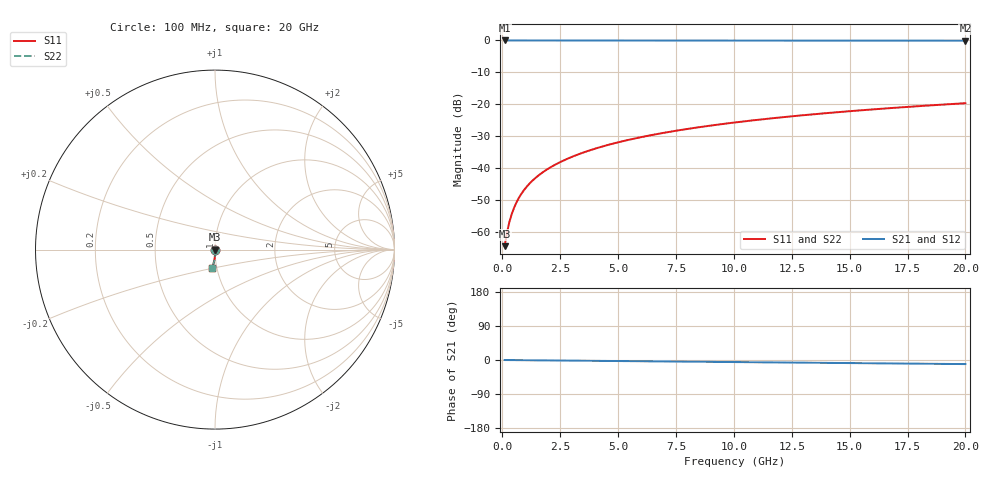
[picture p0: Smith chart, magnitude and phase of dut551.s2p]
! Touchstone file exported from HFSS 2026.1.0
!  File:  C:/ffzhzh/LocalFiles/Ansys_Project_Files/temp_train_TSV_551_1783024286_53980.aedt
!  Generated:  04:33:07 AM Jul  3, 2026
!  Design:  TSV
!  Project:  temp_train_TSV_551_1783024286_53980
! Variables:
!  h_bsmrdl = 2um
!  h_ox = 20um
!  h_rdl = 5um
!  h_sub = 99.11um
!  h_tmrdl = 5um
!  h_tsv = 99.11um
!  h_via = 3um
!  l_bsmrdl = 300um
!  l_sub = 410.88um
!  l_tmrdl = 200um
!  m_sub = 200um
!  pitch = 13.69um
!  r_tsv = 5.44um
!  s_tmrdl = 10um
!  w_bsmrdl = 18um
!  w_sub = 500um
!  w_tmrdl = 12um
!  x_tsv_center1 = 206um
!  x_tsv_center2 = 524um
!  x_tsv_center3 = 736um
!  x_tsv_center4 = 1054um
!  x_tsv_center5 = 1266um
!  x_tsv_center6 = 1584um
# GHz S MA R 50.000000
! Terminal data exported
! Port[1] = TSV1_1_T1
! Port[2] = TSV1_1_T2
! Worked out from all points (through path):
!   200 points, 100 MHz to 20 GHz, reference 50 ohm
!   highest |S21| = 0.00 dB at 100 MHz (marker M1); lowest = -0.1 dB at 20 GHz (marker M2)
!   group delay of S21, straight-line fit = 1.5 ps
!   lowest |S11| = -64.3 dB at 100 MHz (marker M3), VSWR 1.00, Z = 50 - j0.0419 ohm
!   |S11| at or under -10 dB: start of sweep to end of sweep
!   |S22| runs from -64.3 to -19.6 dB; largest |S21 - S12| = 3e-15
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0.1  0.0006062 -43.6  0.9996 -0.1  0.9996 -0.1  0.0006062 -43.6
! Gamma 0 0 0 0
! Port Impedance 50 0 50 0
0.2  0.0009802 -60.6  0.9995 -0.1  0.9995 -0.1  0.0009802 -60.6
0.3  0.001418 -67.9  0.9995 -0.2  0.9995 -0.2  0.001418 -67.9
0.4  0.001888 -71.9  0.9994 -0.2  0.9994 -0.2  0.001888 -71.9
0.5  0.002375 -74.6  0.9994 -0.3  0.9994 -0.3  0.002374 -74.6
0.7  0.003371 -78.1  0.9993 -0.4  0.9993 -0.4  0.003371 -78.1
0.8  0.003875 -79.3  0.9992 -0.5  0.9992 -0.5  0.003875 -79.3
1  0.004885 -81.1  0.9992 -0.6  0.9992 -0.6  0.004885 -81.1
1.2  0.005897 -82.5  0.9991 -0.7  0.9991 -0.7  0.005897 -82.5
1.4  0.00691 -83.4  0.9991 -0.8  0.9991 -0.8  0.00691 -83.4
1.7  0.008432 -84.5  0.999 -1.0  0.999 -1.0  0.008432 -84.5
2  0.009958 -85.3  0.9989 -1.1  0.9989 -1.1  0.009958 -85.3
2.7  0.01354 -86.6  0.9987 -1.5  0.9987 -1.5  0.01354 -86.6
3.5  0.01767 -87.6  0.9985 -1.9  0.9985 -1.9  0.01767 -87.6
4.2  0.02131 -88.3  0.9983 -2.3  0.9983 -2.3  0.02131 -88.3
5  0.0255 -89.0  0.998 -2.8  0.998 -2.8  0.0255 -89.0
6.8  0.03499 -90.5  0.9974 -3.7  0.9974 -3.7  0.03499 -90.5
8.3  0.04292 -91.6  0.9969 -4.5  0.9969 -4.5  0.04292 -91.6
10.1  0.05244 -92.8  0.9962 -5.5  0.9962 -5.5  0.05244 -92.8
13.4  0.06985 -95.0  0.9947 -7.3  0.9947 -7.3  0.06985 -95.0
16.7  0.08717 -97.0  0.993 -9.0  0.993 -9.0  0.08717 -97.0
20  0.1044 -98.9  0.991 -10.8  0.991 -10.8  0.1044 -98.9
